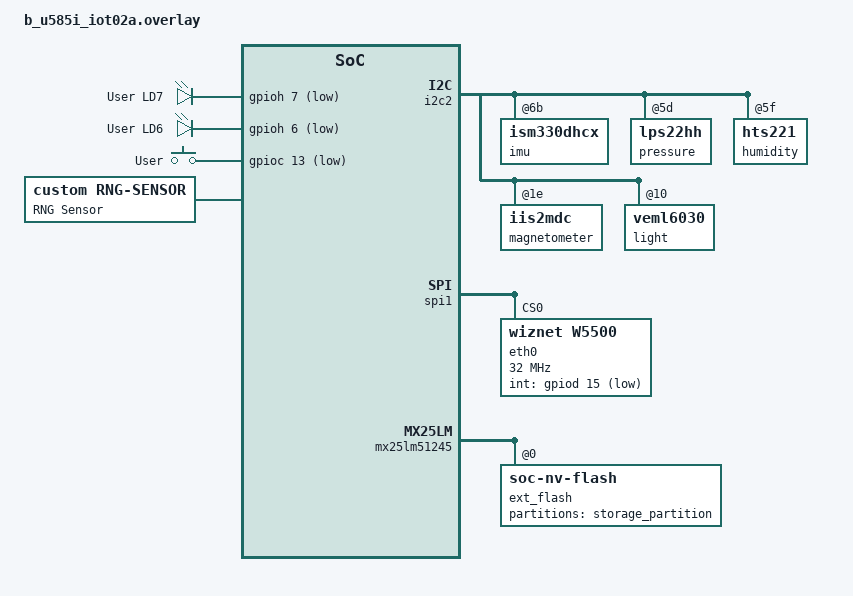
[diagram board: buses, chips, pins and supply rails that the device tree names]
/**
 * @copyright Copyright (c) contributors to Project Ocre,
 * which has been established as Project Ocre a Series of LF Projects, LLC
 *
 * SPDX-License-Identifier: Apache-2.0
 */

#include <zephyr/dt-bindings/pinctrl/stm32-pinctrl.h>

/ {
    chosen {
        zephyr,code-partition = &slot0_partition;
    };

    aliases {
        rng0 = &rng_device;
        led0 = &green_led_1;
		led1 = &red_led_1;
    };

    leds {
		compatible = "gpio-leds";
		green_led_1: led_1 {
			gpios = <&gpioh 7 GPIO_ACTIVE_LOW>;
			label = "User LD7";
		};
		red_led_1: led_3 {
			gpios = <&gpioh 6 GPIO_ACTIVE_LOW>;
			label = "User LD6";
		};
	};

	gpio_keys {
		compatible = "gpio-keys";
		user_button: button {
			label = "User";
			gpios = <&gpioc 13 (GPIO_ACTIVE_LOW | GPIO_PULL_UP)>;
			zephyr,code = <INPUT_KEY_0>;
		};
	};

    rng_device: rng_0 {
        compatible = "custom,rng-sensor";
        label = "RNG Sensor";
        status = "okay";
    };

    devices {
        compatible = "custom,devices";
        status = "okay";
        device_list = <&rng_device &ism330dhcx &lps22hh &hts221 &iis2mdc &veml6030>;
    };
};

// Add labels for sensors defined in the board .dtsi file, and any other user configuration
// This is required so we can reference them in the devices block above, which is used by ocre_sensors
&i2c2 {
    ism330dhcx: ism330dhcx@6b {
        label = "imu";
        status = "okay";
        accel-odr = <4>;    // 104 Hz
        accel-range = <4>;  // ±4 g
        gyro-odr = <4>;     // 104 Hz
        gyro-range = <250>; // ±250 dps
    };
    lps22hh: lps22hh@5d {
        label = "pressure";
        status = "okay";
    };
    hts221: hts221@5f {
        label = "humidity";
        status = "okay";
    };
    iis2mdc: iis2mdc@1e {
        label = "magnetometer";
        status = "okay";
    };
    veml6030: veml6030@10 {
        label = "light";
        status = "okay";
    };
};

&spi1 {
    eth0: ethernet@0 {
        status = "okay";
        reg = <0>;
        // W5500 Ethernet Shield
        compatible = "wiznet,w5500";
        int-gpios = <&gpiod 15 GPIO_ACTIVE_LOW>;
        spi-max-frequency = <32000000>;
        local-mac-address = [ 00 80 00 01 02 03 ];
    };
};

/* Flash partitions - 2MB total, no MCUboot */
&flash0 {
    /delete-node/ partitions;

    partitions {
        compatible = "fixed-partitions";
        #address-cells = <1>;
        #size-cells = <1>;

        /* Application partition - 1900KB */
        slot0_partition: partition@0 {
            label = "image-0";
            reg = <0x00000000 DT_SIZE_K(2000)>;
        };
        /* Dummy slot1 partition for MCUboot compatibility (unused) */
        slot1_partition: partition@1F5000 {
            label = "image-1";
            reg = <0x001F5000 DT_SIZE_K(44)>;
        };
    };
};

&mx25lm51245 {
    reg = <0>;
    size = <DT_SIZE_M(512)>; /* 512 Megabits */
    #address-cells = <1>;
    #size-cells = <1>;

    ranges = <0x0 0x70000000 DT_SIZE_M(64)>; /* Ext Flash mem-mapped to 0x70000000 */

    ext_flash: ext-flash@0 {
        compatible = "soc-nv-flash";
        reg = <0x0 DT_SIZE_M(64)>;
        write-block-size = <1>;
        erase-block-size = <DT_SIZE_K(4)>;

        partitions {
            compatible = "fixed-partitions";
            #address-cells = <1>;
            #size-cells = <1>;

            /* Use the first partition from flash. */
            storage_partition: partition@0 {
                reg = <0x0 DT_SIZE_M(16)>;
            };
        };
    };
};

&die_temp {
    status = "disabled";
};

&adc1 {
    status = "disabled";
};

&vref1 {
    status = "disabled";
};

&vbat4 {
    status = "disabled";
};
